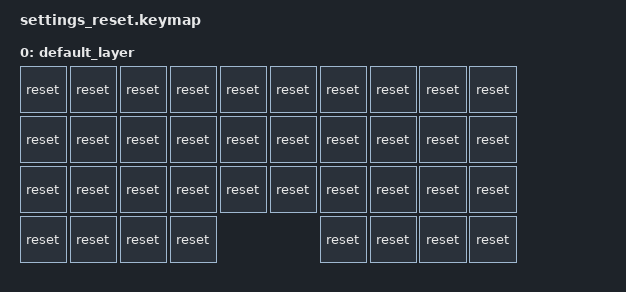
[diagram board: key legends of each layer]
/*
 * Copyright (c) 2020 The ZMK Contributors
 *
 * SPDX-License-Identifier: MIT
 */

#include <behaviors.dtsi>
#include <dt-bindings/zmk/keys.h>

/ {
    keymap {
        compatible = "zmk,keymap";

        default_layer {
            bindings = <
//╭───────────────┬──────────────┬──────────────┬──────────────┬──────────────╮   ╭──────────────┬──────────────┬──────────────┬──────────────┬──────────────╮
        &reset         &reset          &reset        &reset        &reset             &reset          &reset         &reset         &reset	       &reset
//├───────────────┼──────────────┼──────────────┼──────────────┼──────────────┤   ├──────────────┼──────────────┼──────────────┼──────────────┼──────────────┤
        &reset    	   &reset          &reset        &reset        &reset              &reset		  &reset         &reset         &reset         &reset
//├───────────────┼──────────────┼──────────────┼──────────────┼──────────────┤   ├──────────────┼──────────────┼──────────────┼──────────────┼──────────────┤
        &reset         &reset          &reset        &reset        &reset              &reset         &reset         &reset         &reset         &reset
//├───────────────┴──┬───────────┴──────┬───────┴───────────┬──┴──────────────┤   ├──────────────┴───┬──────────┴───────┬──────┴────────────┬─┴──────────────┤
         &reset              &reset              &reset           &reset                 &reset              &reset              &reset             &reset
//╰──────────────────┴──────────────────┴───────────────────┴─────────────────╯   ╰──────────────────┴──────────────────┴───────────────────┴────────────────╯
            >;
        };
    };
};
